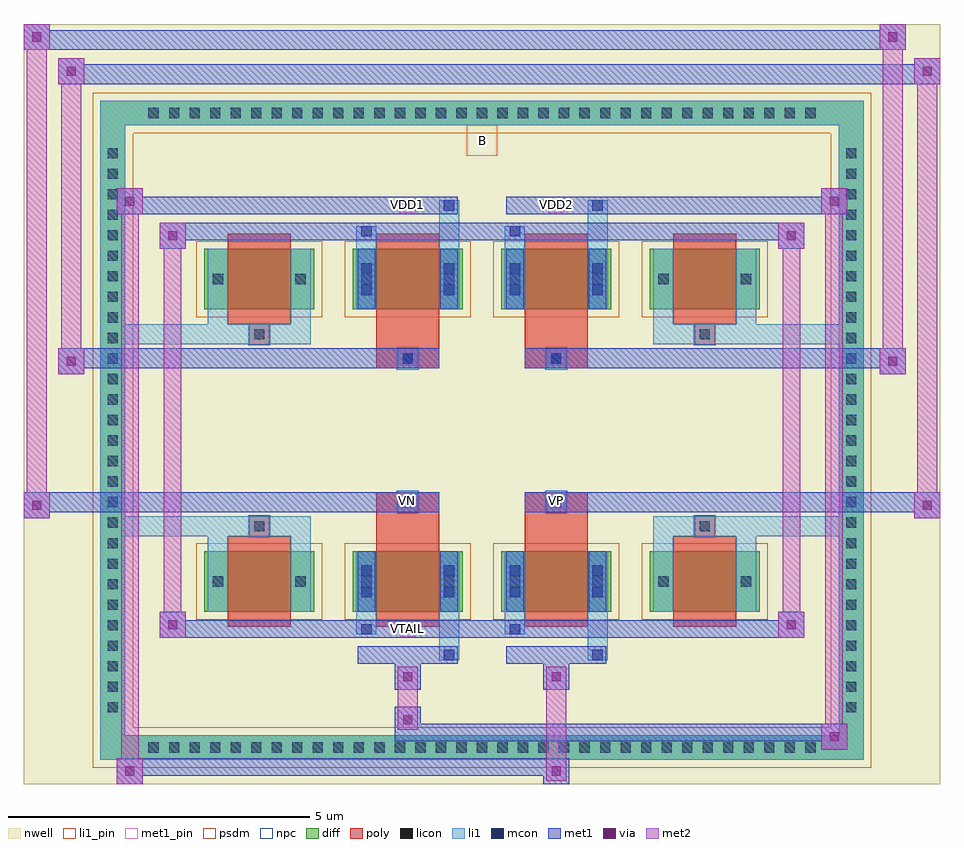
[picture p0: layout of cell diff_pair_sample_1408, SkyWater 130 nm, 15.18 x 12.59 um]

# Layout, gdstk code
import gdstk
lib = gdstk.Library(unit=1e-6, precision=5e-09)
def R(c, l, rs):  # rectangles x0, y0, x1, y1
    for r in rs: c.add(gdstk.rectangle(r[:2], r[2:], *l))
def A(c, l, x, y, w, h, nx, ny, dx, dy):  # array of equal rectangles
    R(c, l, [(x+i*dx, y+j*dy, x+i*dx+w, y+j*dy+h) for i in range(nx) for j in range(ny)])
def P(c, l, *ps):  # polygons
    for p in ps: c.add(gdstk.Polygon(p, *l))
nwell = (64, 20)
diff = (65, 20)
poly = (66, 20)
licon = (66, 44)
li1_pin = (67, 16)
li1 = (67, 20)
mcon = (67, 44)
met1_pin = (68, 16)
met1 = (68, 20)
via = (68, 44)
met2 = (69, 20)
psdm = (94, 20)
npc = (95, 20)

diff_pair_sample_1408 = lib.new_cell('diff_pair_sample_1408')
R(diff_pair_sample_1408, nwell, [(-7.59,-5.86,7.59,6.73), (-4.91,-4.05,-0.01,-0.825), (0.01,-4.05,4.91,-0.825), (-4.91,0.825,-0.01,4.05), (0.01,0.825,4.91,4.05)])
A(diff_pair_sample_1408, diff, -5.645, -5.46, 0.41, 0.41, 33, 2, 0.34, 10.51)
A(diff_pair_sample_1408, diff, -6.32, -4.795, 0.41, 0.41, 1, 28, 0, 0.34)
A(diff_pair_sample_1408, diff, 5.91, -4.795, 0.41, 0.41, 1, 28, 0, 0.34)
A(diff_pair_sample_1408, diff, -4.6, -3.005, 1.82, 1, 4, 2, 2.46, 5.01)
R(diff_pair_sample_1408, diff, [(-5.645,-5.46,5.645,-5.05), (-6.32,-4.795,-5.91,4.795), (5.91,-4.795,6.32,4.795), (-5.645,5.05,5.645,5.46)])
P(diff_pair_sample_1408, diff, [(6.32,5.46),(-6.32,5.46),(-6.32,-5.05),(-5.91,-5.05),(-5.91,5.05),(5.91,5.05),(5.91,-5.05),(-5.91,-5.05),(-6.32,-5.05),(-6.32,-5.46),(6.32,-5.46)])
A(diff_pair_sample_1408, poly, -4.21, -3.255, 1.04, 1.5, 4, 2, 2.46, 5.01)
R(diff_pair_sample_1408, poly, [(-3.855,-1.755,-3.525,-1.425), (-3.855,-1.755,-3.525,-1.425), (-1.75,-1.755,-0.71,-1.355), (0.71,-1.755,1.75,-1.355), (3.525,-1.755,3.855,-1.425), (3.525,-1.755,3.855,-1.425), (-1.75,-1.355,-0.71,-1.025), (-1.395,-1.355,-1.065,-1.025), (0.71,-1.355,1.75,-1.025), (1.065,-1.355,1.395,-1.025), (-1.75,1.025,-0.71,1.355), (-1.395,1.025,-1.065,1.355), (0.71,1.025,1.75,1.355), (1.065,1.025,1.395,1.355), (-1.75,1.355,-0.71,1.755), (0.71,1.355,1.75,1.755), (-3.855,1.425,-3.525,1.755), (-3.855,1.425,-3.525,1.755), (3.525,1.425,3.855,1.755), (3.525,1.425,3.855,1.755)])
A(diff_pair_sample_1408, licon, -5.525, -5.34, 0.17, 0.17, 33, 2, 0.34, 10.51)
A(diff_pair_sample_1408, licon, -6.2, -4.675, 0.17, 0.17, 1, 28, 0, 0.34)
A(diff_pair_sample_1408, licon, 6.03, -4.675, 0.17, 0.17, 1, 28, 0, 0.34)
R(diff_pair_sample_1408, licon, [(-4.46,-2.59,-4.29,-2.42), (-3.09,-2.59,-2.92,-2.42), (-2,-2.59,-1.83,-2.42), (-0.63,-2.59,-0.46,-2.42), (0.46,-2.59,0.63,-2.42), (1.83,-2.59,2,-2.42), (2.92,-2.59,3.09,-2.42), (4.29,-2.59,4.46,-2.42), (-3.775,-1.675,-3.605,-1.505), (3.605,-1.675,3.775,-1.505), (-1.315,-1.275,-1.145,-1.105), (1.145,-1.275,1.315,-1.105), (-1.315,1.105,-1.145,1.275), (1.145,1.105,1.315,1.275), (-3.775,1.505,-3.605,1.675), (3.605,1.505,3.775,1.675), (-4.46,2.42,-4.29,2.59), (-3.09,2.42,-2.92,2.59), (-2,2.42,-1.83,2.59), (-0.63,2.42,-0.46,2.59), (0.46,2.42,0.63,2.59), (1.83,2.42,2,2.59), (2.92,2.42,3.09,2.59), (4.29,2.42,4.46,2.59)])
R(diff_pair_sample_1408, li1_pin, [(-0.25,4.55,0.25,5.05)])
A(diff_pair_sample_1408, li1, -5.605, -5.42, 0.33, 0.33, 33, 2, 0.34, 10.51)
A(diff_pair_sample_1408, li1, -6.28, -4.755, 0.33, 0.33, 1, 28, 0, 0.34)
A(diff_pair_sample_1408, li1, 5.95, -4.755, 0.33, 0.33, 1, 28, 0, 0.34)
R(diff_pair_sample_1408, li1, [(-6.32,-5.46,-5.91,-5.05), (-6.32,-5.46,-5.91,-5.05), (-5.91,-5.46,5.91,-5.05), (5.91,-5.46,6.32,-5.05), (5.91,-5.46,6.32,-5.05), (-6.32,-5.05,-5.91,5.05), (5.91,-5.05,6.32,5.05), (-0.71,-3.81,-0.38,-3.005), (-0.63,-3.81,-0.46,-3.64), (1.75,-3.81,2.08,-3.005), (1.83,-3.81,2,-3.64), (-2.08,-3.38,-1.75,-3.005), (-2,-3.38,-1.83,-3.21), (0.38,-3.38,0.71,-3.005), (0.46,-3.38,0.63,-3.21), (-4.54,-3.005,-4.21,-2.005), (-3.17,-3.005,-2.84,-2.005), (-2.08,-3.005,-1.75,-2.005), (-0.71,-3.005,-0.38,-2.005), (0.38,-3.005,0.71,-2.005), (1.75,-3.005,2.08,-2.005), (2.84,-3.005,3.17,-2.005), (4.21,-3.005,4.54,-2.005), (-2,-2.77,-1.83,-2.6), (-2,-2.77,-1.83,-2.24), (-0.63,-2.77,-0.46,-2.6), (-0.63,-2.77,-0.46,-2.24), (0.46,-2.77,0.63,-2.6), (0.46,-2.77,0.63,-2.24), (1.83,-2.77,2,-2.6), (1.83,-2.77,2,-2.24), (-4.54,-2.67,-4.21,-2.34), (-3.17,-2.67,-2.84,-2.34), (-2.08,-2.67,-1.75,-2.34), (-0.71,-2.67,-0.38,-2.34), (0.38,-2.67,0.71,-2.34), (1.75,-2.67,2.08,-2.34), (2.84,-2.67,3.17,-2.34), (4.21,-2.67,4.54,-2.34), (-2,-2.41,-1.83,-2.24), (-0.63,-2.41,-0.46,-2.24), (0.46,-2.41,0.63,-2.24), (1.83,-2.41,2,-2.24), (-4.54,-2.005,-4.21,-1.425), (-3.17,-2.005,-2.84,-1.425), (2.84,-2.005,3.17,-1.425), (4.21,-2.005,4.54,-1.425), (-6.32,-1.755,-3.855,-1.425), (-4.54,-1.755,-3.855,-1.425), (-3.855,-1.755,-3.525,-1.425), (-3.525,-1.755,-2.84,-1.425), (2.84,-1.755,3.525,-1.425), (3.525,-1.755,3.855,-1.425), (3.525,-1.755,6.32,-1.425), (3.855,-1.755,4.54,-1.425), (-1.395,-1.355,-1.065,-1.025), (1.065,-1.355,1.395,-1.025), (-1.395,1.025,-1.065,1.355), (1.065,1.025,1.395,1.355), (-6.32,1.425,-3.855,1.755), (-4.54,1.425,-3.855,1.755), (-4.54,1.425,-4.21,2.005), (-3.855,1.425,-3.525,1.755), (-3.525,1.425,-2.84,1.755), (-3.17,1.425,-2.84,2.005), (2.84,1.425,3.525,1.755), (2.84,1.425,3.17,2.005), (3.525,1.425,3.855,1.755), (3.525,1.425,6.32,1.755), (3.855,1.425,4.54,1.755), (4.21,1.425,4.54,2.005), (-4.54,2.005,-4.21,3.005), (-3.17,2.005,-2.84,3.005), (-2.08,2.005,-1.75,3.005), (-0.71,2.005,-0.38,3.005), (0.38,2.005,0.71,3.005), (1.75,2.005,2.08,3.005), (2.84,2.005,3.17,3.005), (4.21,2.005,4.54,3.005), (-2,2.24,-1.83,2.41), (-2,2.24,-1.83,2.77), (-0.63,2.24,-0.46,2.41), (-0.63,2.24,-0.46,2.77), (0.46,2.24,0.63,2.41), (0.46,2.24,0.63,2.77), (1.83,2.24,2,2.41), (1.83,2.24,2,2.77), (-4.54,2.34,-4.21,2.67), (-3.17,2.34,-2.84,2.67), (-2.08,2.34,-1.75,2.67), (-0.71,2.34,-0.38,2.67), (0.38,2.34,0.71,2.67), (1.75,2.34,2.08,2.67), (2.84,2.34,3.17,2.67), (4.21,2.34,4.54,2.67), (-2,2.6,-1.83,2.77), (-0.63,2.6,-0.46,2.77), (0.46,2.6,0.63,2.77), (1.83,2.6,2,2.77), (-2.08,3.005,-1.75,3.38), (-0.71,3.005,-0.38,3.81), (0.38,3.005,0.71,3.38), (1.75,3.005,2.08,3.81), (-2,3.21,-1.83,3.38), (0.46,3.21,0.63,3.38), (-0.63,3.64,-0.46,3.81), (1.83,3.64,2,3.81), (-6.32,5.05,-5.91,5.46), (-6.32,5.05,-5.91,5.46), (-5.91,5.05,5.91,5.46), (5.91,5.05,6.32,5.46), (5.91,5.05,6.32,5.46)])
R(diff_pair_sample_1408, mcon, [(-0.63,-3.81,-0.46,-3.64), (1.83,-3.81,2,-3.64), (-2,-3.38,-1.83,-3.21), (0.46,-3.38,0.63,-3.21), (-2,-2.77,-1.83,-2.6), (-0.63,-2.77,-0.46,-2.6), (0.46,-2.77,0.63,-2.6), (1.83,-2.77,2,-2.6), (-2,-2.41,-1.83,-2.24), (-0.63,-2.41,-0.46,-2.24), (0.46,-2.41,0.63,-2.24), (1.83,-2.41,2,-2.24), (-1.315,-1.275,-1.145,-1.105), (1.145,-1.275,1.315,-1.105), (-1.315,1.105,-1.145,1.275), (1.145,1.105,1.315,1.275), (-2,2.24,-1.83,2.41), (-0.63,2.24,-0.46,2.41), (0.46,2.24,0.63,2.41), (1.83,2.24,2,2.41), (-2,2.6,-1.83,2.77), (-0.63,2.6,-0.46,2.77), (0.46,2.6,0.63,2.77), (1.83,2.6,2,2.77), (-2,3.21,-1.83,3.38), (0.46,3.21,0.63,3.38), (-0.63,3.64,-0.46,3.81), (1.83,3.64,2,3.81)])
R(diff_pair_sample_1408, met1_pin, [(-1.365,-3.42,-1.095,-3.15), (-1.365,-1.295,-1.095,-1.025), (1.095,-1.295,1.365,-1.025), (-1.365,3.6,-1.095,3.87), (1.095,3.6,1.365,3.87)])
R(diff_pair_sample_1408, met1, [(-6.05,-5.86,-5.62,-5.43), (1.015,-5.86,1.445,-5.43), (-6.05,-5.72,1.445,-5.43), (5.62,-5.29,6.05,-4.86), (-1.445,-5.15,6.05,-4.86), (-1.445,-5.01,-1.015,-4.58), (-1.445,-4.3,-1.015,-3.87), (1.015,-4.3,1.445,-3.87), (-2.06,-3.87,-0.4,-3.58), (-0.69,-3.87,-0.4,-3.58), (0.4,-3.87,2.06,-3.58), (1.77,-3.87,2.06,-3.58), (-5.34,-3.44,-4.91,-3.01), (-5.34,-3.44,-2.06,-3.15), (-2.06,-3.44,-1.77,-3.15), (-2.06,-3.44,-0.4,-3.15), (-0.4,-3.44,0.4,-3.15), (0.4,-3.44,0.69,-3.15), (0.4,-3.44,2.06,-3.15), (2.06,-3.44,5.34,-3.15), (4.91,-3.44,5.34,-3.01), (-2.06,-3.005,-1.77,-2.005), (-0.69,-3.005,-0.4,-2.005), (0.4,-3.005,0.69,-2.005), (1.77,-3.005,2.06,-2.005), (-2.06,-2.83,-1.77,-2.54), (-0.69,-2.83,-0.4,-2.54), (0.4,-2.83,0.69,-2.54), (1.77,-2.83,2.06,-2.54), (-2.06,-2.47,-1.77,-2.18), (-0.69,-2.47,-0.4,-2.18), (0.4,-2.47,0.69,-2.18), (1.77,-2.47,2.06,-2.18), (-7.59,-1.455,-7.16,-1.025), (7.16,-1.455,7.59,-1.025), (-7.59,-1.355,-0.71,-1.025), (-1.75,-1.355,-0.71,-1.025), (0.71,-1.355,1.75,-1.025), (0.71,-1.355,7.59,-1.025), (-1.375,-1.335,-1.085,-1.045), (1.085,-1.335,1.375,-1.045), (-7.02,0.925,-6.59,1.355), (6.59,0.925,7.02,1.355), (-7.02,1.025,-1.75,1.355), (-1.75,1.025,-0.71,1.355), (0.71,1.025,1.75,1.355), (1.75,1.025,7.02,1.355), (-1.375,1.045,-1.085,1.335), (1.085,1.045,1.375,1.335), (-2.06,2.005,-1.77,3.005), (-0.69,2.005,-0.4,3.005), (0.4,2.005,0.69,3.005), (1.77,2.005,2.06,3.005), (-2.06,2.18,-1.77,2.47), (-0.69,2.18,-0.4,2.47), (0.4,2.18,0.69,2.47), (1.77,2.18,2.06,2.47), (-2.06,2.54,-1.77,2.83), (-0.69,2.54,-0.4,2.83), (0.4,2.54,0.69,2.83), (1.77,2.54,2.06,2.83), (-5.34,3.01,-4.91,3.44), (4.91,3.01,5.34,3.44), (-5.34,3.15,-2.06,3.44), (-2.06,3.15,-1.77,3.44), (-2.06,3.15,-0.4,3.44), (-0.4,3.15,0.4,3.44), (0.4,3.15,0.69,3.44), (0.4,3.15,2.06,3.44), (2.06,3.15,5.34,3.44), (-6.05,3.58,-5.62,4.01), (-6.05,3.58,-2.06,3.87), (-2.06,3.58,-0.4,3.87), (-0.69,3.58,-0.4,3.87), (0.4,3.58,2.06,3.87), (1.77,3.58,2.06,3.87), (2.06,3.58,6.05,3.87), (5.62,3.58,6.05,4.01), (-7.02,5.73,-6.59,6.16), (-7.02,5.73,-4.91,6.06), (-4.91,5.73,4.91,6.06), (4.91,5.73,7.59,6.06), (7.16,5.73,7.59,6.16), (-7.59,6.3,-7.16,6.73), (-7.59,6.3,-4.91,6.63), (-4.91,6.3,4.91,6.63), (4.91,6.3,7.02,6.63), (6.59,6.3,7.02,6.73)])
R(diff_pair_sample_1408, via, [(-5.91,-5.72,-5.76,-5.57), (1.155,-5.72,1.305,-5.57), (5.76,-5.15,5.91,-5), (-1.305,-4.87,-1.155,-4.72), (-1.305,-4.16,-1.155,-4.01), (1.155,-4.16,1.305,-4.01), (-5.2,-3.3,-5.05,-3.15), (5.05,-3.3,5.2,-3.15), (-7.45,-1.315,-7.3,-1.165), (7.3,-1.315,7.45,-1.165), (-6.88,1.065,-6.73,1.215), (6.73,1.065,6.88,1.215), (-5.2,3.15,-5.05,3.3), (5.05,3.15,5.2,3.3), (-5.91,3.72,-5.76,3.87), (5.76,3.72,5.91,3.87), (-6.88,5.87,-6.73,6.02), (7.3,5.87,7.45,6.02), (-7.45,6.44,-7.3,6.59), (6.73,6.44,6.88,6.59)])
R(diff_pair_sample_1408, met2, [(-6.05,-5.86,-5.62,-5.43), (-5.98,-5.86,-5.69,4.01), (-5.69,-5.86,-5.62,-5.43), (-6,-5.81,-5.67,-5.48), (1.065,-5.81,1.395,-5.48), (1.065,-5.48,1.395,-4.25), (5.62,-5.29,6.05,-4.86), (5.69,-5.29,5.98,4.01), (5.98,-5.29,6.05,-4.86), (5.67,-5.24,6,-4.91), (-1.395,-4.96,-1.065,-4.63), (-1.395,-4.63,-1.065,-4.25), (-1.395,-4.25,-1.065,-3.92), (1.065,-4.25,1.395,-3.92), (-5.34,-3.44,-4.91,-3.01), (-5.27,-3.44,-4.98,3.44), (-4.98,-3.44,-4.91,-3.01), (4.91,-3.44,5.34,-3.01), (4.98,-3.44,5.27,3.44), (5.27,-3.44,5.34,-3.01), (-5.29,-3.39,-4.96,-3.06), (4.96,-3.39,5.29,-3.06), (-7.59,-1.455,-7.16,-1.025), (-7.54,-1.455,-7.21,6.73), (-7.21,-1.455,-7.16,-1.025), (7.16,-1.455,7.59,-1.025), (7.21,-1.455,7.54,6.16), (7.54,-1.455,7.59,-1.025), (-7.54,-1.405,-7.21,-1.075), (7.21,-1.405,7.54,-1.075), (-7.02,0.925,-6.59,1.355), (-6.97,0.925,-6.64,6.16), (-6.64,0.925,-6.59,1.355), (6.59,0.925,7.02,1.355), (6.64,0.925,6.97,6.73), (6.97,0.925,7.02,1.355), (-6.97,0.975,-6.64,1.305), (6.64,0.975,6.97,1.305), (-5.34,3.01,-4.91,3.44), (-4.98,3.01,-4.91,3.44), (4.91,3.01,5.34,3.44), (5.27,3.01,5.34,3.44), (-5.29,3.06,-4.96,3.39), (4.96,3.06,5.29,3.39), (-6.05,3.58,-5.62,4.01), (-5.69,3.58,-5.62,4.01), (5.62,3.58,6.05,4.01), (5.98,3.58,6.05,4.01), (-6,3.63,-5.67,3.96), (5.67,3.63,6,3.96), (-7.02,5.73,-6.59,6.16), (-6.64,5.73,-6.59,6.16), (7.16,5.73,7.59,6.16), (7.54,5.73,7.59,6.16), (-6.97,5.78,-6.64,6.11), (7.21,5.78,7.54,6.11), (-7.59,6.3,-7.16,6.73), (-7.21,6.3,-7.16,6.73), (6.59,6.3,7.02,6.73), (6.97,6.3,7.02,6.73), (-7.54,6.35,-7.21,6.68), (6.64,6.35,6.97,6.68)])
A(diff_pair_sample_1408, psdm, -4.73, -3.135, 2.08, 1.26, 4, 2, 2.46, 5.01)
P(diff_pair_sample_1408, psdm, [(6.45,5.59),(-6.45,5.59),(-6.45,-4.92),(-5.78,-4.92),(-5.78,4.92),(5.78,4.92),(5.78,-4.92),(-5.78,-4.92),(-6.45,-4.92),(-6.45,-5.59),(6.45,-5.59)])
R(diff_pair_sample_1408, npc, [(-3.875,-1.775,-3.505,-1.405), (3.505,-1.775,3.875,-1.405), (-1.415,-1.375,-1.045,-1.005), (1.045,-1.375,1.415,-1.005), (-1.415,1.005,-1.045,1.375), (1.045,1.005,1.415,1.375), (-3.875,1.405,-3.505,1.775), (3.505,1.405,3.875,1.775)])
diff_pair_sample_1408.add(gdstk.Label('VTAIL', (-1.23,-3.285), layer=68, texttype=5))
diff_pair_sample_1408.add(gdstk.Label('VN', (-1.23,-1.16), layer=68, texttype=5))
diff_pair_sample_1408.add(gdstk.Label('VP', (1.23,-1.16), layer=68, texttype=5))
diff_pair_sample_1408.add(gdstk.Label('B', (0,4.8), layer=67, texttype=5))
diff_pair_sample_1408.add(gdstk.Label('VDD2', (1.23,3.735), layer=68, texttype=5))
diff_pair_sample_1408.add(gdstk.Label('VDD1', (-1.23,3.735), layer=68, texttype=5))

lib.write_gds('diff_pair_sample_1408.gds')
